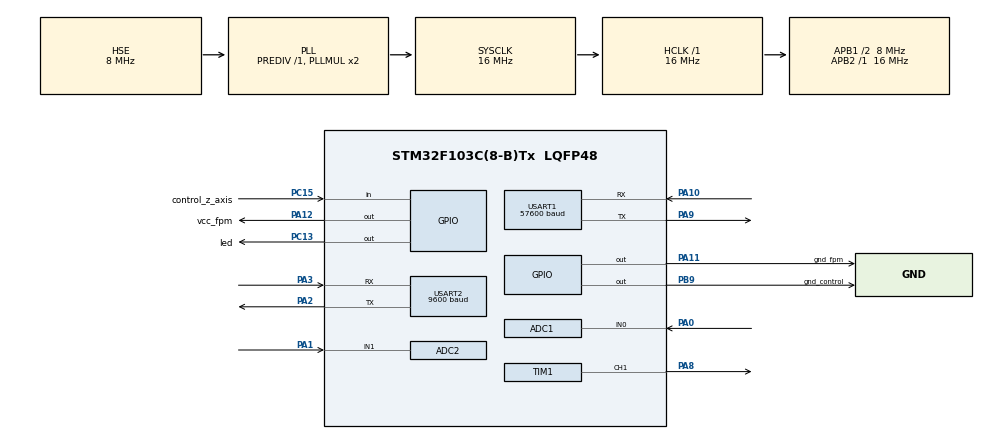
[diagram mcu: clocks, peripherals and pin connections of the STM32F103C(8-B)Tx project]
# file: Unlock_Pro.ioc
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ADC1.Channel-1\#ChannelRegularConversion=ADC_CHANNEL_0
ADC1.NbrOfConversionFlag=1
ADC1.Rank-1\#ChannelRegularConversion=1
ADC1.SamplingTime-1\#ChannelRegularConversion=ADC_SAMPLETIME_239CYCLES_5
ADC1.master=1
ADC2.Channel-1\#ChannelRegularConversion=ADC_CHANNEL_1
ADC2.NbrOfConversionFlag=1
ADC2.Rank-1\#ChannelRegularConversion=1
ADC2.SamplingTime-1\#ChannelRegularConversion=ADC_SAMPLETIME_239CYCLES_5
Mcu.Family=STM32F1
Mcu.Name=STM32F103C(8-B)Tx
Mcu.Package=LQFP48
NVIC.PriorityGroup=NVIC_PRIORITYGROUP_4
NVIC.TIM1_BRK_IRQn=true\:0\:0\:false\:false\:true\:true\:true\:true
NVIC.TIM1_CC_IRQn=true\:0\:0\:false\:true\:true\:1\:true\:true\:true
NVIC.TIM1_TRG_COM_IRQn=true\:0\:0\:false\:false\:true\:true\:true\:true
NVIC.TIM1_UP_IRQn=true\:0\:0\:false\:true\:true\:2\:true\:true\:true
NVIC.USART1_IRQn=true\:0\:0\:false\:false\:true\:true\:true\:true
NVIC.USART2_IRQn=true\:0\:0\:false\:false\:true\:true\:true\:true
PA0-WKUP.Signal=ADCx_IN0
PA1.Signal=ADCx_IN1
PA10.Mode=Asynchronous
PA10.Signal=USART1_RX
PA11.GPIO_Label=gnd_fpm
PA11.Signal=GPIO_Output
PA12.GPIO_Label=vcc_fpm
PA12.Signal=GPIO_Output
PA13.Mode=Serial_Wire
PA13.Signal=SYS_JTMS-SWDIO
PA14.Mode=Serial_Wire
PA14.Signal=SYS_JTCK-SWCLK
PA2.Mode=Asynchronous
PA2.Signal=USART2_TX
PA3.Mode=Asynchronous
PA3.Signal=USART2_RX
PA8.Signal=S_TIM1_CH1
PA9.Mode=Asynchronous
PA9.Signal=USART1_TX
PB9.GPIO_Label=gnd_control
PB9.Signal=GPIO_Output
PC13-TAMPER-RTC.GPIO_Label=led
PC13-TAMPER-RTC.Signal=GPIO_Output
PC15-OSC32_OUT.GPIO_Label=control_z_axis
PC15-OSC32_OUT.Signal=GPIO_Input
PD0-OSC_IN.Mode=HSE-External-Oscillator
PD0-OSC_IN.Signal=RCC_OSC_IN
PD1-OSC_OUT.Mode=HSE-External-Oscillator
PD1-OSC_OUT.Signal=RCC_OSC_OUT
ProjectManager.HeapSize=0x200
ProjectManager.StackSize=0x400
ProjectManager.TargetToolchain=MDK-ARM V5.32
RCC.AHBFreq_Value=16000000
RCC.APB1CLKDivider=RCC_HCLK_DIV2
RCC.APB1Freq_Value=8000000
RCC.APB1TimFreq_Value=16000000
RCC.APB2Freq_Value=16000000
RCC.APB2TimFreq_Value=16000000
RCC.HCLKFreq_Value=16000000
RCC.PLLSourceVirtual=RCC_PLLSOURCE_HSE
RCC.SYSCLKFreq_VALUE=16000000
RCC.SYSCLKSource=RCC_SYSCLKSOURCE_PLLCLK
RCC.USBFreq_Value=16000000
SH.ADCx_IN0.0=ADC1_IN0,IN0
SH.ADCx_IN1.0=ADC2_IN1,IN1
SH.S_TIM1_CH1.0=TIM1_CH1,Output Compare1 CH1
TIM1.Channel-Output\ Compare1\ CH1=TIM_CHANNEL_1
TIM1.Period=1000
TIM1.Prescaler=72-1
USART1.BaudRate=57600
USART1.VirtualMode=VM_ASYNC
USART2.BaudRate=9600
USART2.VirtualMode=VM_ASYNC
VP_TIM1_VS_ClockSourceINT.Mode=Internal
board=custom

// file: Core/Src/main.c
/* USER CODE BEGIN Header */
/**
  ******************************************************************************
  * @file           : main.c
  * @brief          : Main program body
  ******************************************************************************
  * @attention
  *
  * Copyright (c) 2023 STMicroelectronics.
  * All rights reserved.
  *
  * This software is licensed under terms that can be found in the LICENSE file
  * in the root directory of this software component.
  * If no LICENSE file comes with this software, it is provided AS-IS.
  *
  ******************************************************************************
  */
/* USER CODE END Header */
#include "main.h"
#include "adc.h"
#include "tim.h"
#include "usart.h"
#include "gpio.h"

/* USER CODE BEGIN Includes */
#include "oled.h"
#include "stdio.h"
#include "tim_callback.h"
#include "FPM383C.h"
#include "CH9828.h"
/* USER CODE END Includes */

/* USER CODE BEGIN PTD */
//  功能描述   : OLED 7针脚4SPI
//              说明:
//              ----------------------------------------------------------------
//              GND    电源地
//              VCC  接5V或3.3v电源
//              D0   接PA5（SCL）
//              D1   接PA7（SDA）
//              RES  接PB0
//              DC   接PA6
//              CS   接PA4     //CS接低电平有效(即片选上)
//              ----------------------------------------------------------------
/* USER CODE END PTD */

void SystemClock_Config(void);
static void MX_NVIC_Init(void);
/* USER CODE BEGIN PFP */
void Get_ADC_Value(void);
void Set_Key_Val(void);
/* USER CODE END PFP */

/* USER CODE BEGIN 0 */
#define up_v 2.9
#define dn_v 0.3

uint8_t uart1_rx[100];
uint8_t uart2_rx[100];
uint8_t ch9828[100]={0};
uint8_t speed_key=0;
uint8_t page_num=0;
uint16_t set_val_dev=20;

uint32_t adc1_val;
uint32_t adc2_val;
float adc1_v,last_adc1_v;
float adc2_v,last_adc2_v;

uint8_t start_f1=0,start_f2=0,start_cnt=0;
uint32_t speed_cnt=0;
/* USER CODE END 0 */

int main(void)
{

  /* MCU Configuration--------------------------------------------------------*/

  /* Reset of all peripherals, Initializes the Flash interface and the Systick. */
  HAL_Init();

  /* Configure the system clock */
  SystemClock_Config();

  /* Initialize all configured peripherals */
  MX_GPIO_Init();
  MX_TIM1_Init();
  MX_USART1_UART_Init();
  MX_USART2_UART_Init();
  MX_ADC1_Init();
  MX_ADC2_Init();

  /* Initialize interrupts */
  MX_NVIC_Init();
  /* USER CODE BEGIN 2 */
	HAL_GPIO_WritePin(led_GPIO_Port, led_Pin, GPIO_PIN_SET);
	HAL_GPIO_WritePin(GPIOB,GPIO_PIN_9,GPIO_PIN_RESET);

	HAL_GPIO_WritePin(GPIOA,GPIO_PIN_11,GPIO_PIN_RESET);
	HAL_GPIO_WritePin(GPIOA,GPIO_PIN_12,GPIO_PIN_SET);
	OLED_Init();			//初始化OLED
	OLED_Clear();

	HAL_TIM_Base_Start_IT(&htim1);
  HAL_UART_Receive_IT(&huart1,uart1_rx,28);
	HAL_UART_Receive_IT(&huart2,uart2_rx,1);
  /* USER CODE END 2 */

  /* Infinite loop */
  /* USER CODE BEGIN WHILE */

	OLED_Clear();
	fingerprint_matching_synchronization_cmd();
	char charhere[100];
  while (1)
  {
		if(timcount%20==0){
			Set_Key_Val();
			if(page_num==0){
				OLED_Clear_Line(2);
				GPIO_PinState C15=HAL_GPIO_ReadPin(GPIOC,GPIO_PIN_15);
				sprintf(charhere,"%d,%d",speed_key,speed_cnt);
				OLED_ShowString(0,0,(uint8_t*)&charhere);
				sprintf(charhere,"id:%d,err:%1d",fpm_data.id,fpm_data.error_code);
				OLED_ShowString(0,2,(uint8_t*)&charhere);
				sprintf(charhere,"mode:normal");
				OLED_ShowString(0,4,(uint8_t*)&charhere);
				int aaa = HAL_GPIO_ReadPin(GPIOC,GPIO_PIN_15);
				sprintf(charhere,"%1.1f,%1.1f,%d",adc1_v,adc2_v,aaa);
				OLED_ShowString(0,6,(uint8_t*)&charhere);
			}
			else{
				OLED_Clear_Line(2);
				sprintf(charhere,"%d,%d",speed_key,speed_cnt);
				OLED_ShowString(0,0,(uint8_t*)&charhere);
				sprintf(charhere,"id:%d,err:%d",fpm_data.id,fpm_data.error_code);
				OLED_ShowString(0,2,(uint8_t*)&charhere);
				sprintf(charhere,"mode:ctrl");
				OLED_ShowString(0,4,(uint8_t*)&charhere);
				sprintf(charhere,"%1.1f,%1.1f",adc1_v,adc2_v);
				OLED_ShowString(0,6,(uint8_t*)&charhere);
			}
		}
		static int time_10s=0;
		if(timcount%1000==0){
			HAL_UART_Transmit(&huart1,fpm_cmd,18,0xff);
			time_10s++;
		}
		static int if_press_psw=0;
		if(fpm_data.error_code==0&&if_press_psw==0){
			if(fpm_data.id==0){
				Send_password();
				if_press_psw=1;
			}
		}
		else if(time_10s==10){
			if_press_psw=0;
		}

    /* USER CODE END WHILE */

  }
}

void SystemClock_Config(void)
{
  RCC_OscInitTypeDef RCC_OscInitStruct = {0};
  RCC_ClkInitTypeDef RCC_ClkInitStruct = {0};
  RCC_PeriphCLKInitTypeDef PeriphClkInit = {0};

  /** Initializes the RCC Oscillators according to the specified parameters
  * in the RCC_OscInitTypeDef structure.
  */
  RCC_OscInitStruct.OscillatorType = RCC_OSCILLATORTYPE_HSE;
  RCC_OscInitStruct.HSEState = RCC_HSE_ON;
  RCC_OscInitStruct.HSEPredivValue = RCC_HSE_PREDIV_DIV1;
  RCC_OscInitStruct.HSIState = RCC_HSI_ON;
  RCC_OscInitStruct.PLL.PLLState = RCC_PLL_ON;
  RCC_OscInitStruct.PLL.PLLSource = RCC_PLLSOURCE_HSE;
  RCC_OscInitStruct.PLL.PLLMUL = RCC_PLL_MUL2;
  if (HAL_RCC_OscConfig(&RCC_OscInitStruct) != HAL_OK)
  {
    Error_Handler();
  }

  /** Initializes the CPU, AHB and APB buses clocks
  */
  RCC_ClkInitStruct.ClockType = RCC_CLOCKTYPE_HCLK|RCC_CLOCKTYPE_SYSCLK
                              |RCC_CLOCKTYPE_PCLK1|RCC_CLOCKTYPE_PCLK2;
  RCC_ClkInitStruct.SYSCLKSource = RCC_SYSCLKSOURCE_PLLCLK;
  RCC_ClkInitStruct.AHBCLKDivider = RCC_SYSCLK_DIV1;
  RCC_ClkInitStruct.APB1CLKDivider = RCC_HCLK_DIV2;
  RCC_ClkInitStruct.APB2CLKDivider = RCC_HCLK_DIV1;

  if (HAL_RCC_ClockConfig(&RCC_ClkInitStruct, FLASH_LATENCY_0) != HAL_OK)
  {
    Error_Handler();
  }
  PeriphClkInit.PeriphClockSelection = RCC_PERIPHCLK_ADC;
  PeriphClkInit.AdcClockSelection = RCC_ADCPCLK2_DIV2;
  if (HAL_RCCEx_PeriphCLKConfig(&PeriphClkInit) != HAL_OK)
  {
    Error_Handler();
  }
}

/**
  * @brief NVIC Configuration.
  * @retval None
  */
static void MX_NVIC_Init(void)
{
  /* TIM1_CC_IRQn interrupt configuration */
  HAL_NVIC_SetPriority(TIM1_CC_IRQn, 0, 0);
  HAL_NVIC_EnableIRQ(TIM1_CC_IRQn);
  /* TIM1_UP_IRQn interrupt configuration */
  HAL_NVIC_SetPriority(TIM1_UP_IRQn, 0, 0);
  HAL_NVIC_EnableIRQ(TIM1_UP_IRQn);
}

/* USER CODE BEGIN 4 */
void Get_ADC_Value(void){
	HAL_ADC_Start(&hadc1);//打开ADC
	HAL_ADC_PollForConversion(&hadc1,50);
	if(HAL_IS_BIT_SET(HAL_ADC_GetState(&hadc1), HAL_ADC_STATE_REG_EOC))
	{
		adc1_val = HAL_ADC_GetValue(&hadc1);
	}
	HAL_ADC_Stop(&hadc1);
	HAL_ADC_Start(&hadc2);//打开ADC
	HAL_ADC_PollForConversion(&hadc2,50);
	if(HAL_IS_BIT_SET(HAL_ADC_GetState(&hadc2), HAL_ADC_STATE_REG_EOC))
	{
		adc2_val = HAL_ADC_GetValue(&hadc2);
	}
	HAL_ADC_Stop(&hadc2);
	last_adc1_v = adc1_v;
	last_adc2_v = adc2_v;
	adc1_v = (float)adc1_val*3.3/4096;
	adc2_v = (float)adc2_val*3.3/4096;
}

void Set_Key_Val(void){
	Get_ADC_Value();
//	//右上角计时
//	if(adc2_v<dn_v && adc1_v<dn_v && start_f1==0)start_f1=1;
//	if(start_f1==1)start_cnt++;//每加一次20ms
//	if(start_cnt>=25){
//		OLED_Clear();
//		start_cnt=0;
//		speed_key++;
//		if(speed_key==2)speed_key=0;
//		start_f1=0;
//	}
//	//左下角计时
//	if(adc2_v>up_v && adc1_v>up_v && start_f2==0)start_f2=1;
//	if(start_f2==1)start_cnt++;
//	if(start_cnt>=25){
//		OLED_Clear();
//		start_cnt=0;
//		page_num++;
//		if(page_num==2)page_num=0;
//		start_f2=0;
//	}
	speed_cnt++;
	if(speed_key==0){
		set_val_dev=1;
	}
	else if(speed_key==1){
		set_val_dev=3;
	}
	if(speed_cnt>=set_val_dev){
		if(page_num==0){
//			if(adc2_v>up_v&&adc1_v<up_v&&adc1_v>dn_v)Send_left();
//			if(adc2_v<dn_v&&adc1_v<up_v&&adc1_v>dn_v)Send_right();
//			if(adc1_v>up_v&&adc2_v<up_v&&adc2_v>dn_v)Send_down();
//			if(adc1_v<dn_v&&adc2_v<up_v&&adc2_v>dn_v)Send_up();
			if(adc2_v>up_v&&adc1_v<up_v&&adc1_v>dn_v)Send_left_noup();
			if(adc2_v<dn_v&&adc1_v<up_v&&adc1_v>dn_v)Send_right_noup();
			if(adc1_v>up_v&&adc2_v<up_v&&adc2_v>dn_v)Send_down_noup();
			if(adc1_v<dn_v&&adc2_v<up_v&&adc2_v>dn_v)Send_up_noup();
			if(adc2_v>up_v && adc1_v>up_v)send_l_d_noup();//左下
			if(adc2_v<dn_v && adc1_v<dn_v)send_r_u_noup();//右上
			if(adc2_v>up_v && adc1_v<up_v)send_l_u_noup();//左上
			if(adc2_v<dn_v && adc1_v>dn_v)send_r_d_noup();//右下

			if(adc1_v>dn_v && adc1_v<up_v && adc2_v<up_v && adc2_v>dn_v)Send_release();
		}
		else if(set_val_dev==3){
			if(adc2_v>up_v&&adc1_v<up_v&&adc1_v>dn_v)Send_smaller();
			if(adc2_v<dn_v&&adc1_v<up_v&&adc1_v>dn_v)Send_bigger();
			if(adc1_v>up_v&&adc2_v<up_v&&adc2_v>dn_v)Send_page_down();
			if(adc1_v<dn_v&&adc2_v<up_v&&adc2_v>dn_v)Send_page_up();
		}
		speed_cnt=0;
	}
}
/* USER CODE END 4 */

void Error_Handler(void)
{
  __disable_irq();
  while (1)
  {
  }
}
